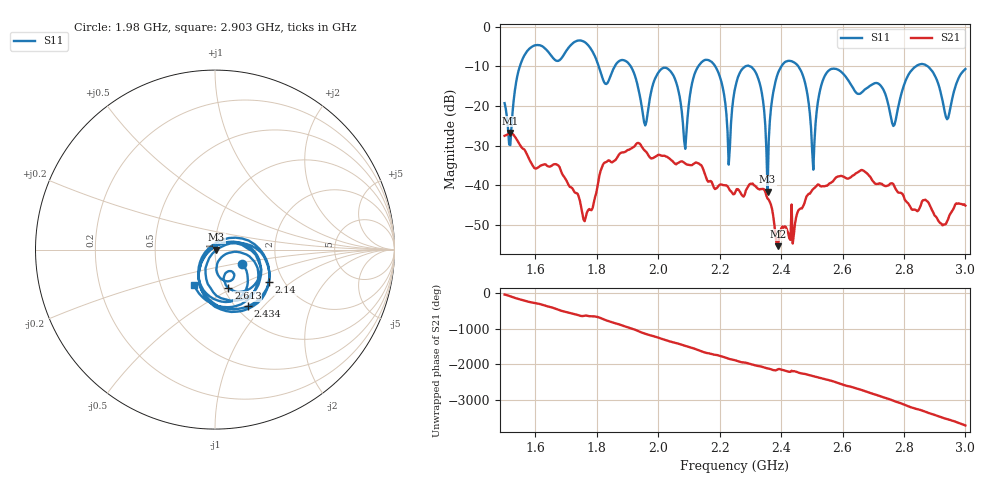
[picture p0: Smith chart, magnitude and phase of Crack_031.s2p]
# HZ S RI R 50
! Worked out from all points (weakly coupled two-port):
!   404 points, 1.5 GHz to 3 GHz, reference 50 ohm
!   highest |S21| = -26.86 dB at 1.519 GHz (marker M1); lowest = -55.4 dB at 2.39 GHz (marker M2)
!   lowest |S11| = -41.6 dB at 2.356 GHz (marker M3), VSWR 1.02, Z = 50.8 - j0.0912 ohm
!   |S11| at or under -10 dB: 1.91 GHz to 2.131 GHz (220.5 MHz wide, 10.9 % of centre); 2.456 GHz to 2.839 GHz (383.5 MHz wide, 14.5 % of centre); 2.877 GHz to end of sweep (the widest 3 of 7)
!   S12 and S22 are empty: the file has one direction only
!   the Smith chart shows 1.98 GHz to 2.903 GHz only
!   S11 on the Smith chart (normalised r, x): 1.98 GHz: 1.33, -0.22; 2.14 GHz: 1.68, -0.70; 2.434 GHz: 1.13, -0.83; 2.613 GHz: 1.05, -0.47; 2.903 GHz: 0.73, -0.30
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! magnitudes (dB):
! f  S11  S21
! 1.5 GHz  -19.3  -27.5
! 1.519 GHz  -29.9  -26.9
! 1.574 GHz  -6.1  -32.5
! 1.753 GHz  -3.6  -47.3
! 1.958 GHz  -24.9  -31.4
! 1.98 GHz  -15.4  -33.2
! 2.002 GHz  -11.4  -32.3
! 2.088 GHz  -30.8  -34.5
! 2.14 GHz  -9.1  -34.9
! 2.23 GHz  -34.8  -40.7
! 2.252 GHz  -15.0  -41.6
! 2.315 GHz  -11.3  -40.1
! 2.356 GHz  -41.6  -43.4
! 2.39 GHz  -11.8  -55.4
! 2.434 GHz  -8.7  -44.9
! 2.501 GHz  -31.4  -41.2
! 2.542 GHz  -12.5  -40.3
! 2.613 GHz  -12.9  -38.3
! 2.751 GHz  -20.2  -40.0
! 2.903 GHz  -12.8  -47.9
! 2.94 GHz  -23.4  -49.1
! 3 GHz  -10.7  -45.1
